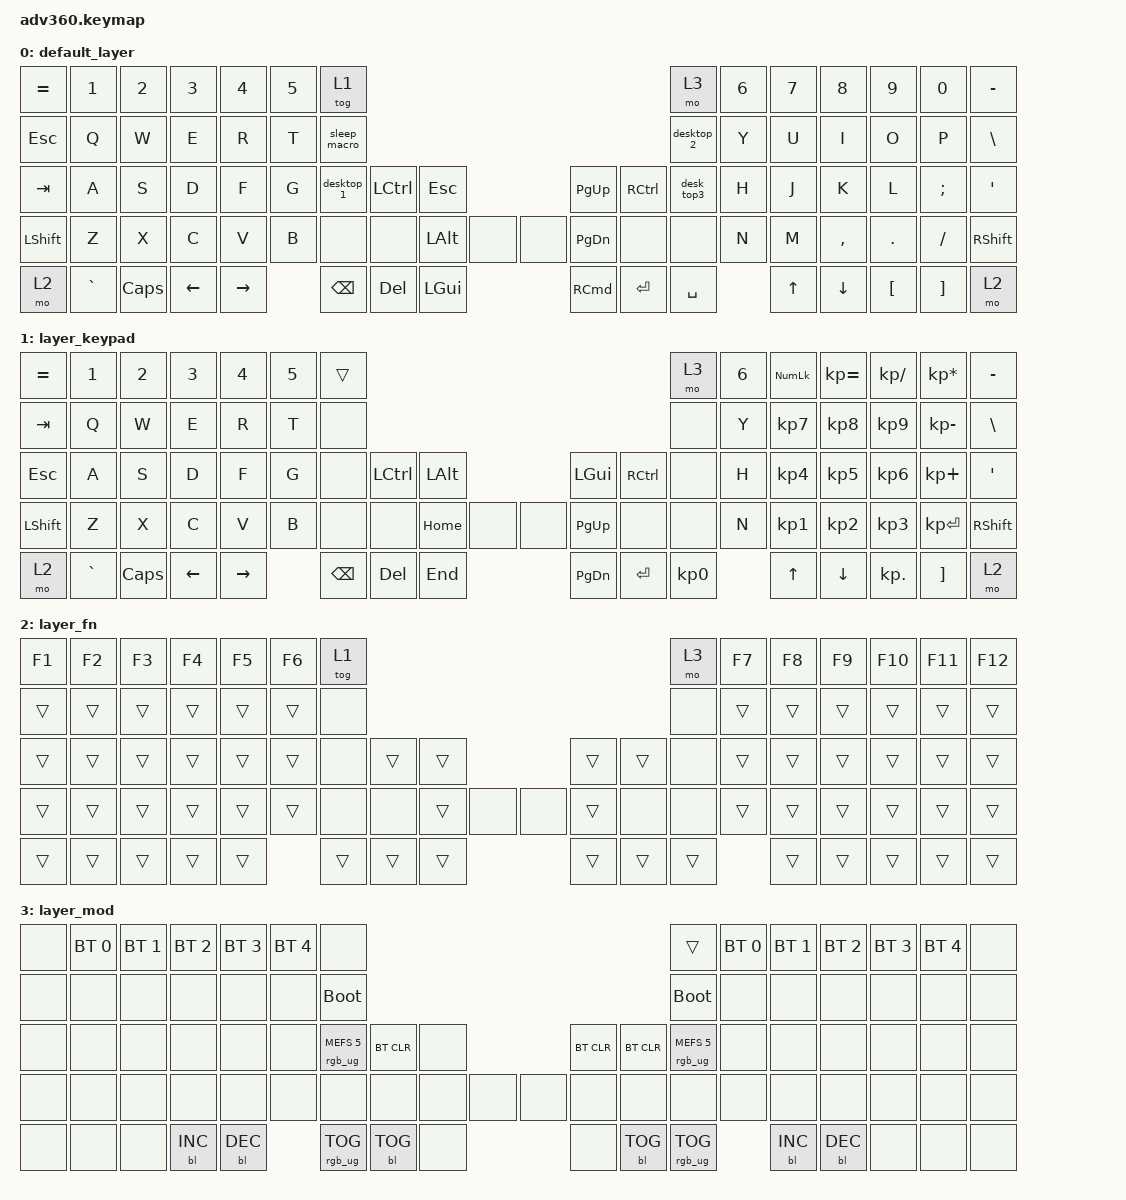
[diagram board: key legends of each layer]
/*
 * Copyright (c) 2020 The ZMK Contributors
 *
 * SPDX-License-Identifier: MIT
 */
/* THIS FILE WAS GENERATED!
 *
 * This file was generated automatically. You may or may not want to
 * edit it directly.
 */

#include <behaviors.dtsi>
#include <dt-bindings/zmk/backlight.h>
#include <dt-bindings/zmk/bt.h>
#include <dt-bindings/zmk/keys.h>
#include <dt-bindings/zmk/rgb.h>

/ {
    behaviors {
        #include "macros.dtsi"

        hm: homerow_mods {
            compatible = "zmk,behavior-hold-tap";
            label = "HOMEROW_MODS";
            #binding-cells = <2>;
            tapping-term-ms = <200>;
            quick_tap_ms = <175>;
            flavor = "tap-preferred";
            bindings = <&kp>, <&kp>;
        };
    };

    macros {
        lock_macro: lock_macro {
            compatible = "zmk,behavior-macro";
            #binding-cells = <0>;
            bindings = <&kp LC(LG(Q))>;
            label = "LOCK_MACRO";
        };

        desktop_1: desktop_1 {
            compatible = "zmk,behavior-macro";
            #binding-cells = <0>;
            bindings = <&kp LC(LA(LG(NUMBER_1)))>;
            label = "DESKTOP_1";
        };

        desktop_2: desktop_2 {
            compatible = "zmk,behavior-macro";
            #binding-cells = <0>;
            bindings = <&kp LG(LA(LC(NUMBER_2)))>;
            label = "DESKTOP_2";
        };

        desk_top3: desk_top3 {
            compatible = "zmk,behavior-macro";
            #binding-cells = <0>;
            bindings = <&kp LA(LC(LG(NUMBER_3)))>;
            label = "DESK_TOP3";
        };

        sleep_macro: sleep_macro {
            compatible = "zmk,behavior-macro";
            #binding-cells = <0>;
            bindings = <&kp LA(LG(LC(Q)))>;
            label = "SLEEP_MACRO";
        };
    };

    keymap {
        compatible = "zmk,keymap";

        default_layer {
            bindings = <
&kp EQUAL  &kp N1     &kp N2    &kp N3    &kp N4     &kp N5  &tog 1                                                                         &mo 3       &kp N6  &kp N7  &kp N8     &kp N9    &kp N0    &kp MINUS
&kp ESC    &kp Q      &kp W     &kp E     &kp R      &kp T   &sleep_macro                                                                   &desktop_2  &kp Y   &kp U   &kp I      &kp O     &kp P     &kp BSLH
&kp TAB    &kp A      &kp S     &kp D     &kp F      &kp G   &desktop_1    &kp LCTRL  &kp ESC                 &kp PG_UP          &kp RCTRL  &desk_top3  &kp H   &kp J   &kp K      &kp L     &kp SEMI  &kp SQT
&kp LSHFT  &kp Z      &kp X     &kp C     &kp V      &kp B   &none         &none      &kp LALT  &none  &none  &kp PG_DN          &none      &none       &kp N   &kp M   &kp COMMA  &kp DOT   &kp FSLH  &kp RSHFT
&mo 2      &kp GRAVE  &kp CAPS  &kp LEFT  &kp RIGHT          &kp BSPC      &kp DEL    &kp LGUI                &kp RIGHT_COMMAND  &kp ENTER  &kp SPACE           &kp UP  &kp DOWN   &kp LBKT  &kp RBKT  &mo 2
            >;
        };

        layer_keypad {
            bindings = <
&kp EQUAL  &kp N1     &kp N2    &kp N3    &kp N4     &kp N5  &trans                                                             &mo 3      &kp N6  &kp KP_NUM  &kp KP_EQUAL  &kp KP_DIVIDE  &kp KP_MULTIPLY  &kp MINUS
&kp TAB    &kp Q      &kp W     &kp E     &kp R      &kp T   &none                                                              &none      &kp Y   &kp KP_N7   &kp KP_N8     &kp KP_N9      &kp KP_MINUS     &kp BSLH
&kp ESC    &kp A      &kp S     &kp D     &kp F      &kp G   &none     &kp LCTRL  &kp LALT                &kp LGUI   &kp RCTRL  &none      &kp H   &kp KP_N4   &kp KP_N5     &kp KP_N6      &kp KP_PLUS      &kp SQT
&kp LSHFT  &kp Z      &kp X     &kp C     &kp V      &kp B   &none     &none      &kp HOME  &none  &none  &kp PG_UP  &none      &none      &kp N   &kp KP_N1   &kp KP_N2     &kp KP_N3      &kp KP_ENTER     &kp RSHFT
&mo 2      &kp GRAVE  &kp CAPS  &kp LEFT  &kp RIGHT          &kp BSPC  &kp DEL    &kp END                 &kp PG_DN  &kp ENTER  &kp KP_N0          &kp UP      &kp DOWN      &kp KP_DOT     &kp RBKT         &mo 2
            >;
        };

        layer_fn {
            bindings = <
&kp F1  &kp F2  &kp F3  &kp F4  &kp F5  &kp F6  &tog 1                                                &mo 3   &kp F7  &kp F8  &kp F9  &kp F10  &kp F11  &kp F12
&trans  &trans  &trans  &trans  &trans  &trans  &none                                                 &none   &trans  &trans  &trans  &trans   &trans   &trans
&trans  &trans  &trans  &trans  &trans  &trans  &none   &trans  &trans                &trans  &trans  &none   &trans  &trans  &trans  &trans   &trans   &trans
&trans  &trans  &trans  &trans  &trans  &trans  &none   &none   &trans  &none  &none  &trans  &none   &none   &trans  &trans  &trans  &trans   &trans   &trans
&trans  &trans  &trans  &trans  &trans          &trans  &trans  &trans                &trans  &trans  &trans          &trans  &trans  &trans   &trans   &trans
            >;
        };

        layer_mod {
            bindings = <
&none  &bt BT_SEL 0  &bt BT_SEL 1  &bt BT_SEL 2  &bt BT_SEL 3  &bt BT_SEL 4  &none                                                                            &trans                  &bt BT_SEL 0  &bt BT_SEL 1  &bt BT_SEL 2  &bt BT_SEL 3  &bt BT_SEL 4  &none
&none  &none         &none         &none         &none         &none         &bootloader                                                                      &bootloader             &none         &none         &none         &none         &none         &none
&none  &none         &none         &none         &none         &none         &rgb_ug RGB_MEFS_CMD 5  &bt BT_CLR  &none                &bt BT_CLR  &bt BT_CLR  &rgb_ug RGB_MEFS_CMD 5  &none         &none         &none         &none         &none         &none
&none  &none         &none         &none         &none         &none         &none                   &none       &none  &none  &none  &none       &none       &none                   &none         &none         &none         &none         &none         &none
&none  &none         &none         &bl BL_INC    &bl BL_DEC                  &rgb_ug RGB_TOG         &bl BL_TOG  &none                &none       &bl BL_TOG  &rgb_ug RGB_TOG                       &bl BL_INC    &bl BL_DEC    &none         &none         &none
            >;
        };
    };
};
